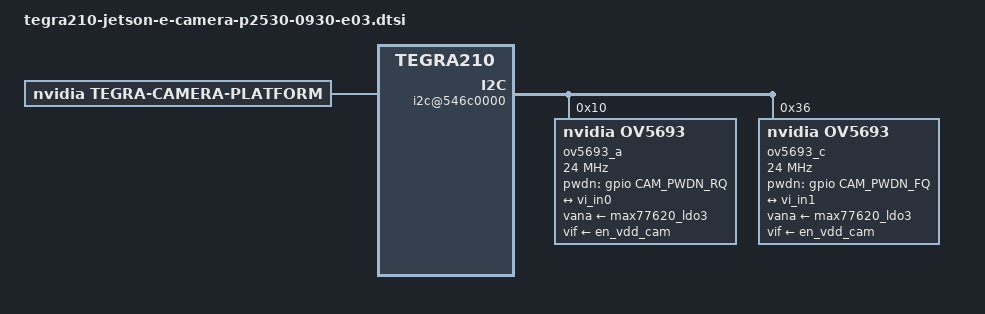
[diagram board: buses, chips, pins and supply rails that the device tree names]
/*
 * Copyright (c) 2015-2016, NVIDIA CORPORATION.  All rights reserved.
 *
 * This program is free software; you can redistribute it and/or modify
 * it under the terms of the GNU General Public License as published by
 * the Free Software Foundation; either version 2 of the License, or
 * (at your option) any later version.
 *
 * This program is distributed in the hope that it will be useful, but WITHOUT
 * ANY WARRANTY; without even the implied warranty of MERCHANTABILITY or
 * FITNESS FOR A PARTICULAR PURPOSE.  See the GNU General Public License for
 * more details.
 *
 * You should have received a copy of the GNU General Public License
 * along with this program.  If not, see <http://www.gnu.org/licenses/>.
 */

#include <dt-bindings/media/camera.h>
#include <dt-bindings/platform/t210/t210.h>

#define CAM_I2C_BUS	2
#define VI_I2C_BUS	6

/* generally used camera control gpio definitions and aliases*/
#define CAM_RST		TEGRA_GPIO(S, 4)
#define CAM_AF_EN	TEGRA_GPIO(S, 5)
#define CAM_FLASH_EN	TEGRA_GPIO(S, 6)
#define CAM_PWDN_RQ	TEGRA_GPIO(S, 7)
#define CAM_PWDN_FQ	TEGRA_GPIO(T, 0)
#define CAM_STROBE_EN	TEGRA_GPIO(T, 1)
/* alias */
#define CAM_PWDN_AF	CAM_AF_EN
#define CAMFI_PWDN	CAM_STROBE_EN
#define CAMRI_PWDN	CAM_STROBE_EN

/* specifically used on camera board designs */
/* NxOV10823 general */

#define OV10823_SID_CAM1	CAMRI_PWDN	/*PT1*/
#define OV10823_SID_CAM2	CAM_AF_EN	/*PS5*/
#define OV10823_SID_CAM3	CAM_PWDN_FQ	/*PT0*/

#define OV10823_DEFAULT_I2C_ADDR_SID_LOW	(0x10)
#define OV10823_DEFAULT_I2C_ADDR_SID_HIGH	(0x36)
#define OV10823_SENSOR_REG_RW_SID_LOW		(0x300c)
#define OV10823_SENSOR_REG_RW_SID_HIGH		(0x3661)

#define OV10823_I2C_ADDR_CAM1	(0x20)
#define OV10823_I2C_ADDR_CAM2	(0x22)
#define OV10823_I2C_ADDR_CAM3	(0x24)

/* ov10823 board specific */
#define OV10823_USE_OSC_FOR_MCLK	(1)
#define OV10823_NEED_I2C_RECOVERY	(0)

#define FIRST_CAM_POS (0)
#define SECOND_CAM_POS (1)
#define THIRD_CAM_POS (2)

/ {
	host1x {
		vi {
			num-channels = <2>;
			ports {
				#address-cells = <1>;
				#size-cells = <0>;
				port@0 {
					reg = <0>;
					vi_in0: endpoint {
						remote-endpoint = <&ov5693_out0>;
					};
				};
				port@1 {
					reg = <1>;
					vi_in1: endpoint {
						remote-endpoint = <&ov5693_out1>;
					};
				};
			};
		};

		i2c@546c0000 {
			avdd_dsi_csi-supply = <&max77620_gpio7>;

			status = "okay";
			#address-cells = <1>;
			#size-cells = <0>;
			ov5693_a@10 {
				compatible = "nvidia,ov5693";
				/* I2C device address */
				reg = <0x10>;

				/* V4L2 device node location */
				devnode = "video0";

				/* Physical dimensions of sensor */
				physical_w = "3.674";
				physical_h = "2.738";

				/* Define any required hw resources needed by driver */
				/* ie. clocks, io pins, power sources */
				avdd-reg = "vana";
				iovdd-reg = "vif";

				/* Define any required hw resources needed by driver */
				/* ie. clocks, io pins, power sources */
				/* mclk-index indicates the index of the */
				/* mclk-name with in the clock-names array */

				clocks = <&tegra_car TEGRA210_CLK_ID_CLK_OUT_3>;
				clock-names = "mclk";
				clock-frequency = <24000000>;

				mclk = "cam_mclk1";
				pwdn-gpios = <&gpio CAM_PWDN_RQ GPIO_ACTIVE_HIGH>;
				vana-supply = <&max77620_ldo3>;
				vif-supply = <&en_vdd_cam>;

				/**
				* Generic formula to calculate different parameters.
				* Please add the formula in proper parenthesis.
				* Formula must contain only these operators '*' '/' '+' '-' '(' ')'
				* Formula containing both numbers and variables is supported. Refer example #3.
				* There must be atleast one operator inside the parenthesis. Refer example #4.
				* Don't use spaces. Refer example #5.
				*
				* Examples -
				* 1. formula = "(powerx+powery)+(exposure*2)"; /// correct example
				* 2. formula = "((2*(6-1))/2)*4";          /// correct example
				* 3. formula = "((powerx*(6-1))/2)*4";     /// correct example
				* 4. formula = "((2*(6-1))*2)/(2)";        /// incorrect example - extra use of parenthesis
				* 5. formula = "((2*(6-1)) / 2)*4";        /// incorrect example - use of spaces
				*/

				/**
				* A modeX node is required to support v4l2 driver
				* implementation with NVIDIA camera software stack
				*
				* mclk_khz = "";
				* Standard MIPI driving clock, typically 24MHz
				*
				* num_lanes = "";
				* Number of lane channels sensor is programmed to output
				*
				* tegra_sinterface = "";
				* The base tegra serial interface lanes are connected to
				*
				* discontinuous_clk = "";
				* The sensor is programmed to use a discontinuous clock on MIPI lanes
				*
				* dpcm_enable = "true";
				* The sensor is programmed to use a DPCM modes
				*
				* cil_settletime = "";
				* MIPI lane settle time value.
				* A "0" value attempts to autocalibrate based on mclk_multiplier
				*
				*
				*
				*
				* active_w = "";
				* Pixel active region width
				*
				* active_h = "";
				* Pixel active region height
				*
				* pixel_t = "";
				* The sensor readout pixel pattern
				* For eg - 10 bit bayer having 'bggr' pixel pattern has value "bayer_bggr"
				*          12 bit bayer having 'bggr' pixel pattern has value "bayer_bggr12"
				*          14 bit bayer having 'bggr' pixel pattern has value "bayer_bggr14"
				*
				* readout_orientation = "0";
				* Based on camera module orientation.
				* Only change readout_orientation if you specifically
				* Program a different readout order for this mode
				*
				* line_length = "";
				* Pixel line length (width) for sensor mode.
				* This is used to calibrate features in our camera stack.
				*
				* mclk_multiplier = "";
				* Multiplier to MCLK to help time hardware capture sequence
				* TODO: Assign to PLL_Multiplier as well until fixed in core
				*
				* pix_clk_hz = "";
				* Sensor pixel clock used for calculations like exposure and framerate
				*
				*
				*
				*
				* inherent_gain = "";
				* Gain obtained inherently from mode (ie. pixel binning)
				*
				* min_gain_val = ""; (floor to 6 decimal places)
				* max_gain_val = ""; (floor to 6 decimal places)
				* Gain limits for mode
				*
				* min_exp_time = ""; (ceil to integer)
				* max_exp_time = ""; (ceil to integer)
				* Exposure Time limits for mode (us)
				*
				*
				* min_hdr_ratio = "";
				* max_hdr_ratio = "";
				* HDR Ratio limits for mode
				*
				* min_framerate = "";
				* max_framerate = "";
				* Framerate limits for mode (fps)
				*/
				mode0 { // OV5693_MODE_2592X1944
					mclk_khz = "24000";
					num_lanes = "2";
					tegra_sinterface = "serial_a";
					discontinuous_clk = "no";
					dpcm_enable = "false";
					cil_settletime = "0";

					active_w = "2592";
					active_h = "1944";
					pixel_t = "bayer_bggr";
					readout_orientation = "90";
					line_length = "2688";
					inherent_gain = "1";
					mclk_multiplier = "17.0";
					pix_clk_hz = "160000000";

					min_gain_val = "1.0";
					max_gain_val = "16";
					min_hdr_ratio = "1";
					max_hdr_ratio = "64";
					min_framerate = "1.816577";
					max_framerate = "30";
					min_exp_time = "34";
					max_exp_time = "550385";
				};

				mode1 { //OV5693_MODE_2592X1458
					mclk_khz = "24000";
					num_lanes = "2";
					tegra_sinterface = "serial_a";
					discontinuous_clk = "no";
					dpcm_enable = "false";
					cil_settletime = "0";

					active_w = "2592";
					active_h = "1458";
					pixel_t = "bayer_bggr";
					readout_orientation = "90";
					line_length = "2688";
					inherent_gain = "1";
					mclk_multiplier = "17.0";
					pix_clk_hz = "160000000";

					min_gain_val = "1.0";
					max_gain_val = "16";
					min_hdr_ratio = "1";
					max_hdr_ratio = "64";
					min_framerate = "1.816577";
					max_framerate = "30";
					min_exp_time = "34";
					max_exp_time = "550385";
				};

				mode2 { //OV5693_MODE_1280X720
					mclk_khz = "24000";
					num_lanes = "2";
					tegra_sinterface = "serial_a";
					discontinuous_clk = "no";
					dpcm_enable = "false";
					cil_settletime = "0";

					active_w = "1280";
					active_h = "720";
					pixel_t = "bayer_bggr";
					readout_orientation = "90";
					line_length = "1752";
					inherent_gain = "1";
					mclk_multiplier = "17.0";
					pix_clk_hz = "160000000";

					min_gain_val = "1.0";
					max_gain_val = "16";
					min_hdr_ratio = "1";
					max_hdr_ratio = "64";
					min_framerate = "2.787078";
					max_framerate = "120";
					min_exp_time = "22";
					max_exp_time = "358733";
				};

				// HDR Modes
				mode3 { //OV5693_MODE_2592X1944_HDR
					mclk_khz = "24000";
					num_lanes = "2";
					tegra_sinterface = "serial_a";
					discontinuous_clk = "no";
					dpcm_enable = "false";
					cil_settletime = "0";

					active_w = "2592";
					active_h = "1944";
					pixel_t = "hdr_bggr";
					readout_orientation = "90";
					line_length = "3696";
					inherent_gain = "1";
					mclk_multiplier = "19.0";
					pix_clk_hz = "176000000";

					min_gain_val = "1.0";
					max_gain_val = "16";
					min_hdr_ratio = "1";
					max_hdr_ratio = "64";
					min_framerate = "1.453262";
					max_framerate = "24";
					min_exp_time = "42";
					max_exp_time = "687981";
				};

				ports {
					#address-cells = <1>;
					#size-cells = <0>;

					port@0 {
						reg = <0>;
						ov5693_out0: endpoint {
							csi-port = <0>;
							bus-width = <2>;
							remote-endpoint = <&vi_in0>;
						};
					};
				};
			};

			ov5693_c@36 {
				compatible = "nvidia,ov5693";
				/* I2C device address */
				reg = <0x36>;

				/* V4L2 device node location */
				devnode = "video1";

				/* Physical dimensions of sensor */
				physical_w = "3.674";
				physical_h = "2.738";

				/* Define any required hw resources needed by driver */
				/* ie. clocks, io pins, power sources */
				avdd-reg = "vana";
				iovdd-reg = "vif";


				/* Define any required hw resources needed by driver */
				/* ie. clocks, io pins, power sources */
				/* mclk-index indicates the index of the */
				/* mclk-name with in the clock-names array */

				clocks = <&tegra_car TEGRA210_CLK_ID_CLK_OUT_3>;
				clock-names = "mclk";
				clock-frequency = <24000000>;

				mclk = "cam_mclk1";
				pwdn-gpios = <&gpio CAM_PWDN_FQ GPIO_ACTIVE_HIGH>;
				vana-supply = <&max77620_ldo3>;
				vif-supply = <&en_vdd_cam>;

				/**
				* Generic formula to calculate different parameters.
				* Please add the formula in proper parenthesis.
				* Formula must contain only these operators '*' '/' '+' '-' '(' ')'
				* Formula containing both numbers and variables is supported. Refer example #3.
				* There must be atleast one operator inside the parenthesis. Refer example #4.
				* Don't use spaces. Refer example #5.
				*
				* Examples -
				* 1. formula = "(powerx+powery)+(exposure*2)"; /// correct example
				* 2. formula = "((2*(6-1))/2)*4";          /// correct example
				* 3. formula = "((powerx*(6-1))/2)*4";     /// correct example
				* 4. formula = "((2*(6-1))*2)/(2)";        /// incorrect example - extra use of parenthesis
				* 5. formula = "((2*(6-1)) / 2)*4";        /// incorrect example - use of spaces
				*/

				/**
				* A modeX node is required to support v4l2 driver
				* implementation with NVIDIA camera software stack
				*
				* mclk_khz = "";
				* Standard MIPI driving clock, typically 24MHz
				*
				* num_lanes = "";
				* Number of lane channels sensor is programmed to output
				*
				* tegra_sinterface = "";
				* The base tegra serial interface lanes are connected to
				*
				* discontinuous_clk = "";
				* The sensor is programmed to use a discontinuous clock on MIPI lanes
				*
				* dpcm_enable = "true";
				* The sensor is programmed to use a DPCM modes
				*
				* cil_settletime = "";
				* MIPI lane settle time value.
				* A "0" value attempts to autocalibrate based on mclk_multiplier
				*
				*
				*
				*
				* active_w = "";
				* Pixel active region width
				*
				* active_h = "";
				* Pixel active region height
				*
				* pixel_t = "";
				* The sensor readout pixel pattern
				* For eg - 10 bit bayer having 'bggr' pixel pattern has value "bayer_bggr"
				*          12 bit bayer having 'bggr' pixel pattern has value "bayer_bggr12"
				*          14 bit bayer having 'bggr' pixel pattern has value "bayer_bggr14"
				*
				* readout_orientation = "0";
				* Based on camera module orientation.
				* Only change readout_orientation if you specifically
				* Program a different readout order for this mode
				*
				* line_length = "";
				* Pixel line length (width) for sensor mode.
				* This is used to calibrate features in our camera stack.
				*
				* mclk_multiplier = "";
				* Multiplier to MCLK to help time hardware capture sequence
				* TODO: Assign to PLL_Multiplier as well until fixed in core
				*
				* pix_clk_hz = "";
				* Sensor pixel clock used for calculations like exposure and framerate
				*
				*
				*
				*
				* inherent_gain = "";
				* Gain obtained inherently from mode (ie. pixel binning)
				*
				* min_gain_val = ""; (floor to 6 decimal places)
				* max_gain_val = ""; (floor to 6 decimal places)
				* Gain limits for mode
				*
				* min_exp_time = ""; (ceil to integer)
				* max_exp_time = ""; (ceil to integer)
				* Exposure Time limits for mode (us)
				*
				*
				* min_hdr_ratio = "";
				* max_hdr_ratio = "";
				* HDR Ratio limits for mode
				*
				* min_framerate = "";
				* max_framerate = "";
				* Framerate limits for mode (fps)
				*/
				mode0 { // OV5693_MODE_2592X1944
					mclk_khz = "24000";
					num_lanes = "2";
					tegra_sinterface = "serial_c";
					discontinuous_clk = "no";
					dpcm_enable = "false";
					cil_settletime = "0";

					active_w = "2592";
					active_h = "1944";
					pixel_t = "bayer_bggr";
					readout_orientation = "90";
					line_length = "2688";
					inherent_gain = "1";
					mclk_multiplier = "6.67";
					pix_clk_hz = "160000000";

					min_gain_val = "1.0";
					max_gain_val = "16";
					min_hdr_ratio = "1";
					max_hdr_ratio = "64";
					min_framerate = "1.816577";
					max_framerate = "30";
					min_exp_time = "34";
					max_exp_time = "550385";
				};

				mode1 { //OV5693_MODE_2592X1458
					mclk_khz = "24000";
					num_lanes = "2";
					tegra_sinterface = "serial_c";
					discontinuous_clk = "no";
					dpcm_enable = "false";
					cil_settletime = "0";

					active_w = "2592";
					active_h = "1458";
					pixel_t = "bayer_bggr";
					readout_orientation = "90";
					line_length = "2688";
					inherent_gain = "1";
					mclk_multiplier = "6.67";
					pix_clk_hz = "160000000";

					min_gain_val = "1.0";
					max_gain_val = "16";
					min_hdr_ratio = "1";
					max_hdr_ratio = "64";
					min_framerate = "1.816577";
					max_framerate = "30";
					min_exp_time = "34";
					max_exp_time = "550385";
				};

				mode2 { //OV5693_MODE_1280X720
					mclk_khz = "24000";
					num_lanes = "2";
					tegra_sinterface = "serial_c";
					discontinuous_clk = "no";
					dpcm_enable = "false";
					cil_settletime = "0";

					active_w = "1280";
					active_h = "720";
					pixel_t = "bayer_bggr";
					readout_orientation = "90";
					line_length = "1752";
					inherent_gain = "1";
					mclk_multiplier = "6.67";
					pix_clk_hz = "160000000";

					min_gain_val = "1.0";
					max_gain_val = "16";
					min_hdr_ratio = "1";
					max_hdr_ratio = "64";
					min_framerate = "2.787078";
					max_framerate = "120";
					min_exp_time = "22";
					max_exp_time = "358733";
				};

				// HDR Modes
				mode3 { //OV5693_MODE_2592X1944_HDR
					mclk_khz = "24000";
					num_lanes = "2";
					tegra_sinterface = "serial_c";
					discontinuous_clk = "no";
					dpcm_enable = "false";
					cil_settletime = "0";

					active_w = "2592";
					active_h = "1944";
					pixel_t = "hdr_bggr";
					readout_orientation = "90";
					line_length = "3696";
					inherent_gain = "1";
					mclk_multiplier = "7.33";
					pix_clk_hz = "176000000";

					min_gain_val = "1.0";
					max_gain_val = "16";
					min_hdr_ratio = "1";
					max_hdr_ratio = "64";
					min_framerate = "1.453262";
					max_framerate = "24";
					min_exp_time = "42";
					max_exp_time = "687981";
				};

				ports {
					#address-cells = <1>;
					#size-cells = <0>;

					port@0 {
						reg = <0>;
						ov5693_out1: endpoint {
							csi-port = <2>;
							bus-width = <2>;
							remote-endpoint = <&vi_in1>;
						};
					};
				};
			};

		};
	};

	tegra-camera-platform {
		compatible = "nvidia, tegra-camera-platform";

		/**
		* The general guideline for naming badge_info contains 3 parts, and is as follows,
		* The first part is the camera_board_id for the module; if the module is in a FFD
		* platform, then use the platform name for this part.
		* The second part contains the position of the module, ex. “rear” or “front”.
		* The third part contains the last 6 characters of a part number which is found
		* in the module's specsheet from the vender.
		*/
		modules {
			module0 {
				badge = "e2146_rear_BA519C";
				position = "rear";
				orientation = "1";
				drivernode0 {
					/* Declare PCL support driver (classically known as guid)  */
					pcl_id = "v4l2_sensor";
					/* Declare the device-tree hierarchy to driver instance */
					proc-device-tree = "/proc/device-tree/host1x/i2c@546c0000/ov5693_a@10";
				};
				drivernode1 {
					/* Declare PCL support driver (classically known as guid)  */
					pcl_id = "v4l2_focuser_stub";
				};
				drivernode2 {
					/* Declare PCL support driver (classically known as guid)  */
					pcl_id = "f_AD5823";
				};
			};
			module1 {
				badge = "e2146_front_P5V27C";
				position = "front";
				orientation = "3";
				drivernode0 {
					/* Declare PCL support driver (classically known as guid)  */
					pcl_id = "v4l2_sensor";
					/* Declare the device-tree hierarchy to driver instance */
					proc-device-tree = "/proc/device-tree/host1x/i2c@546c0000/ov5693_c@36";
				};
				drivernode1 {
					/* Declare PCL support driver (classically known as guid)  */
					pcl_id = "v4l2_focuser_stub";
				};
			};
		};
	};

	camera-pcl {
		compatible = "nvidia,tegra210-camera", "simple-bus";
		configuration = <0xAA55AA55>;

		modules {
			module1: module1@modules {
				compatible = "sensor,rear";
				badge_info = "e2146_rear_BA519C";
			  focuser {
					profile = <&ad5823_1>;
					platformdata = "t210ref_ov5693_pdata";
				};
			};
			module2: module2@modules {
				compatible = "sensor,front";
				badge_info = "e2146_front_P5V27C";
			};

			module3: module3@modules {
				compatible = "sensor,rear";
				badge_info = "e2385_angle0_ov10823";

				sensor {
					profile = <&ov10823_A>;
					platformdata = "t210ref_ov10823A_pdata";
				};
			};

			module4: module4@modules {
				compatible = "sensor,rear";
				badge_info = "e2385_angle120_ov10823";

				sensor {
					profile = <&ov10823_B>;
					platformdata = "t210ref_ov10823B_pdata";
				};
			};

			module5: module5@modules {
				compatible = "sensor,rear";
				badge_info = "e2385_angle240_ov10823";

				sensor {
					profile = <&ov10823_C>;
					platformdata = "t210ref_ov10823C_pdata";
				};
			};
		};

		profiles {
			ov5693_1: ov5693@2_0010 {
				index = <1>;
				chipname = "pcl_OV5693";
				type = "sensor";
				guid = "s_OV5693";
				position = <0>;
				bustype = "i2c";
				busnum = <VI_I2C_BUS>;
				addr = <0x10>;
				datalen = <2>;
				pinmuxgrp = <0xFFFF>;
				gpios = <3>;
				regulators = "vana", "vif";
				clocks = "cam_mclk1";
				drivername = "ov5693";
				detect = <0x0002 0x300A 0xFFFF 0x5690>;
				devid = <0x5693>;
				poweron = <
					CAMERA_IND_CLK_SET(10000)
					CAMERA_GPIO_CLR(CAM_PWDN_RQ)
					CAMERA_WAITMS(1)
					CAMERA_REGULATOR_ON(0)
					CAMERA_REGULATOR_ON(1)
					CAMERA_WAITMS(1)
					CAMERA_GPIO_SET(CAM_PWDN_RQ)
					CAMERA_WAITMS(10)
					CAMERA_END
					>;
				poweroff = <
					CAMERA_IND_CLK_CLR
					CAMERA_GPIO_CLR(CAM_PWDN_RQ)
					CAMERA_WAITUS(10)
					CAMERA_REGULATOR_OFF(1)
					CAMERA_REGULATOR_OFF(0)
					CAMERA_END
					>;
				/* sensor capabilities */
				cap-version = <0x34340002>;
				cap-identifier = "OV5693";
				cap-sensor_nvc_interface = <3>;
				cap-pixel_types = <0x2101>;
				cap-orientation = <1>;
				cap-direction = <0>;
				cap-initial_clock_rate_khz = <6000>;
				cap-h_sync_edge = <0>;
				cap-v_sync_edge = <0>;
				cap-mclk_on_vgp0 = <0>;
				cap-csi_port = <0>;
				cap-data_lanes = <2>;
				cap-virtual_channel_id = <0>;
				cap-discontinuous_clk_mode = <1>;
				cap-cil_threshold_settle = <0>;
				cap-min_blank_time_width = <16>;
				cap-min_blank_time_height = <16>;
				cap-preferred_mode_index = <0>;
				cap-external_clock_khz_0 = <24000>;
				cap-clock_multiplier_0 = <8000000>;
				cap-external_clock_khz_1 = <0>;
				cap-clock_multiplier_1 = <0>;
				cap-hdr-enabled;
			};
			ad5823_1: ad5823@2_000c {
				index = <2>;
				chipname = "pcl_AD5823";
				type = "focuser";
				guid = "f_AD5823";
				position = <0>;
				bustype = "i2c";
				busnum = <VI_I2C_BUS>;
				addr = <0xc>;
				datalen = <1>;
				pinmuxgrp = <0xFFFF>;
				gpios = <3>;
				regulators = "vdd", "vif";
				drivername = "ad5823";
				detect = <0x0002 0x0006 0xFFFF 0x0010>;
				devid = <0x5823>;
				poweron = <
					CAMERA_REGULATOR_ON(1)
					CAMERA_REGULATOR_ON(0)
					CAMERA_WAITUS(10)
					CAMERA_GPIO_SET(CAM_PWDN_AF)
					CAMERA_WAITUS(10)
					CAMERA_END
					>;
				poweroff = <
					CAMERA_REGULATOR_OFF(0)
					CAMERA_REGULATOR_OFF(1)
					CAMERA_GPIO_CLR(CAM_PWDN_AF)
					CAMERA_WAITUS(10)
					CAMERA_END
					>;
			};
			ov5693_2: ov5693@2_0036 {
				index = <3>;
				chipname = "pcl_OV5693f";
				type = "sensor";
				guid = "sOV5693f";
				position = <1>;
				bustype = "i2c";
				busnum = <VI_I2C_BUS>;
				addr = <0x36>;
				datalen = <2>;
				pinmuxgrp = <0xFFFF>;
				gpios = <3>;
				regulators = "vana", "vif";
				clocks = "cam_mclk1";
				drivername = "ov5693.1";
				detect = <0x0002 0x300A 0xFFFF 0x5690>;
				devid = <0x5693>;
				poweron = <
					CAMERA_IND_CLK_SET(10000)
					CAMERA_GPIO_CLR(CAM_PWDN_FQ)
					CAMERA_WAITMS(1)
					CAMERA_REGULATOR_ON(0)
					CAMERA_REGULATOR_ON(1)
					CAMERA_WAITMS(1)
					CAMERA_GPIO_SET(CAM_PWDN_FQ)
					CAMERA_WAITMS(10)
					CAMERA_END
					>;
				poweroff = <
					CAMERA_IND_CLK_CLR
					CAMERA_GPIO_CLR(CAM_PWDN_FQ)
					CAMERA_WAITUS(10)
					CAMERA_REGULATOR_OFF(1)
					CAMERA_REGULATOR_OFF(0)
					CAMERA_END
					>;
				/* sensor capabilities */
				cap-version = <0x34340002>;
				cap-identifier = "OV5693.1";
				cap-sensor_nvc_interface = <5>;
				cap-pixel_types = <0x2101>;
				cap-orientation = <3>;
				cap-direction = <1>;
				cap-initial_clock_rate_khz = <6000>;
				cap-h_sync_edge = <0>;
				cap-v_sync_edge = <0>;
				cap-mclk_on_vgp0 = <0>;
				cap-csi_port = <1>;
				cap-data_lanes = <2>;
				cap-virtual_channel_id = <0>;
				cap-discontinuous_clk_mode = <1>;
				cap-cil_threshold_settle = <0>;
				cap-min_blank_time_width = <16>;
				cap-min_blank_time_height = <16>;
				cap-preferred_mode_index = <0>;
				cap-external_clock_khz_0 = <24000>;
				cap-clock_multiplier_0 = <8000000>;
				cap-external_clock_khz_1 = <0>;
				cap-clock_multiplier_1 = <0>;
				cap-hdr-enabled;
			};

			ov10823_A: ov10823@6_0020 {
				index = <4>;
				chipname = "pcl_OV10823_A";
				type = "sensor";
				guid = "sOVA823A";
				position = <FIRST_CAM_POS>;
				bustype = "i2c";
				busnum = <VI_I2C_BUS>;
				addr = <OV10823_I2C_ADDR_CAM1>;
				datalen = <2>;
				pinmuxgrp = <0xFFFF>;
				gpios = <3>;
				drivername = "ov10823";
				detect = <0x0002 0x300A 0xFFFF 0xA820>;
				devid = <0xA823>;
				poweron = <
					CAMERA_GPIO_SET(OV10823_SID_CAM1)
					CAMERA_GPIO_SET(OV10823_SID_CAM2)
					CAMERA_GPIO_SET(OV10823_SID_CAM3)
					CAMERA_WAITUS(10)
					CAMERA_GPIO_CLR(OV10823_SID_CAM1)
					CAMERA_WAITUS(300)
					CAMERA_TABLE_RAW_WRITE(CAMERA_RAW_I2C_ADDRESS(\
						OV10823_DEFAULT_I2C_ADDR_SID_LOW, \
						OV10823_SENSOR_REG_RW_SID_LOW, \
						(OV10823_I2C_ADDR_CAM1 << 1)))
					CAMERA_END
					>;
				poweroff = <
					CAMERA_END
					>;
			};

			ov10823_B: ov10823@6_0022 {
				index = <4>;
				chipname = "pcl_OV10823_B";
				type = "sensor";
				guid = "sOVA823B";
				position = <SECOND_CAM_POS>;
				bustype = "i2c";
				busnum = <VI_I2C_BUS>;
				addr = <OV10823_I2C_ADDR_CAM2>;
				datalen = <2>;
				pinmuxgrp = <0xFFFF>;
				gpios = <3>;
				drivername = "ov10823";
				detect = <0x0002 0x300A 0xFFFF 0xA820>;
				devid = <0xA823>;
				poweron = <
					CAMERA_GPIO_CLR(OV10823_SID_CAM2)
					CAMERA_WAITUS(300)
					CAMERA_TABLE_RAW_WRITE(CAMERA_RAW_I2C_ADDRESS(\
						OV10823_DEFAULT_I2C_ADDR_SID_LOW, \
						OV10823_SENSOR_REG_RW_SID_LOW, \
						(OV10823_I2C_ADDR_CAM2 << 1)))
					CAMERA_END
					>;
				poweroff = <
					CAMERA_END
					>;
			};

			ov10823_C: ov10823@6_0024 {
				index = <4>;
				chipname = "pcl_OV10823_C";
				type = "sensor";
				guid = "sOVA823C";
				position = <THIRD_CAM_POS>;
				bustype = "i2c";
				busnum = <VI_I2C_BUS>;
				addr = <OV10823_I2C_ADDR_CAM3>;
				datalen = <2>;
				pinmuxgrp = <0xFFFF>;
				gpios = <3>;
				drivername = "ov10823";
				detect = <0x0002 0x300A 0xFFFF 0xA820>;
				devid = <0xA823>;
				poweron = <
					CAMERA_GPIO_CLR(OV10823_SID_CAM3)
					CAMERA_WAITUS(300)
					CAMERA_TABLE_RAW_WRITE(CAMERA_RAW_I2C_ADDRESS(\
						OV10823_DEFAULT_I2C_ADDR_SID_LOW, \
						OV10823_SENSOR_REG_RW_SID_LOW, \
						(OV10823_I2C_ADDR_CAM3 << 1)))
					CAMERA_END
					>;
				poweroff = <
					CAMERA_END
					>;
			};

		};
	};
};
